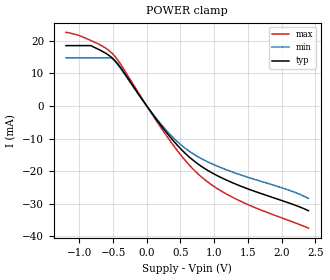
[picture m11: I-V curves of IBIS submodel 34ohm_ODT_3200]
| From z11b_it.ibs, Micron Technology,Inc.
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| SUBMODEL 34ohm_ODT_3200
[Submodel]   34ohm_ODT_3200
Submodel_type  Dynamic_clamp
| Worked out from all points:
|   POWER clamp passes 1 mA (typ) near -0.03 V on its own axis
[POWER Clamp]
|   Voltage   I(typ)   I(min)   I(max)
-1.2V     18.53mA    14.79mA    22.59mA
-830mV    18.53mA    14.79mA    20.09mA
-515mV    14.76mA    14.59mA    16.16mA
-400mV    12.11mA    11.82mA    13.19mA
0V        83.82nA    78.48nA    82.25nA
310mV     -8.572mA   -7.927mA   -9.628mA
600mV     -15.07mA   -13.42mA   -17.39mA
855mV     -19.11mA   -16.62mA   -22.49mA
1.145V    -22.36mA   -19.25mA   -26.55mA
1.44V     -24.93mA   -21.43mA   -29.66mA
2.1V      -29.66mA   -25.72mA   -35.04mA
2.4V      -32.09mA   -28.34mA   -37.44mA
